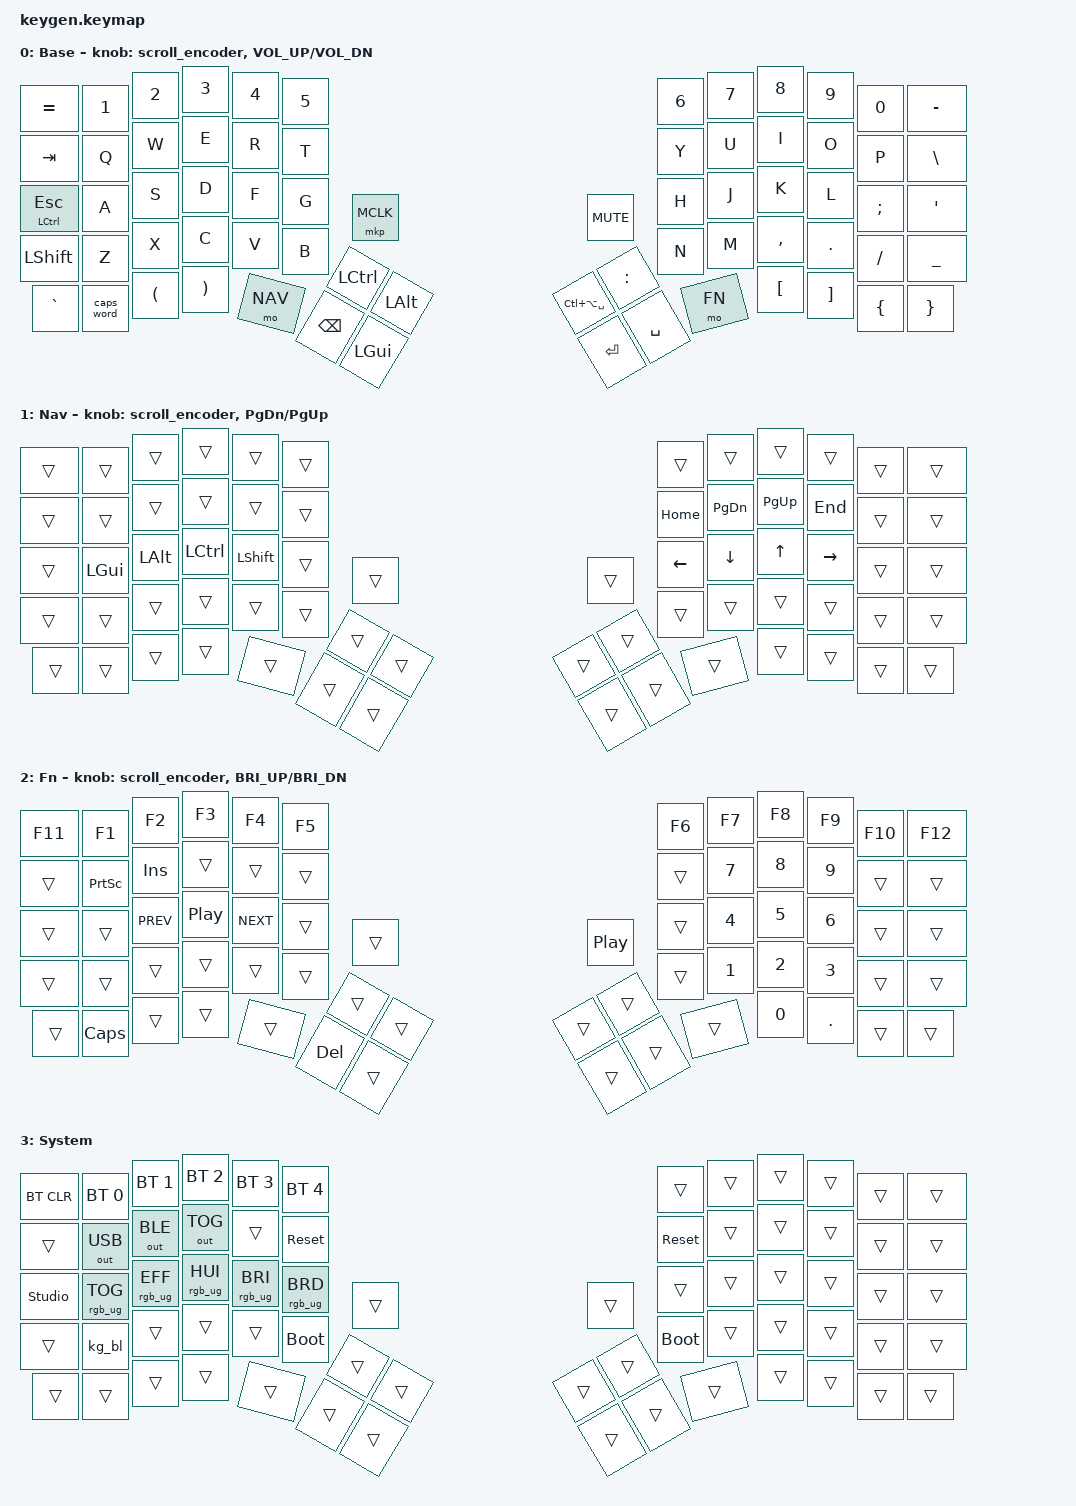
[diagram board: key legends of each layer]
/*
 * Keygen keymap. Key positions come from boards/shields/keygen/keygen-layouts.dtsi:
 *   number row (14, the two encoder presses in the middle), top, home, bottom (12 each), extra row (8),
 *   thumb 1u row (4), thumb bottom row (6: 1.25u, 1.25u rest, 1.25u centre per half).
 *
 * Layers: BASE, NAV (hold left 1.25u), FN (hold right 1.25u), SYS (hold both).
 *
 * The right half has no Shift, Ctrl or Alt: those come from the left half. Its two 1u thumb keys
 * are ':' (Vim's command line) and dictation (Ctrl+Alt+Space, OpenWhispr's toggle), and its outer
 * bottom key is '_'.
 *
 * Knobs: the left one is a scroll wheel on every layer (with Super held it walks Hyprland's
 * workspaces), and pressing it is a middle click. The right one is volume / page / brightness.
 */

#include <behaviors.dtsi>
#include <dt-bindings/zmk/bt.h>
#include <dt-bindings/zmk/keys.h>
#include <dt-bindings/zmk/outputs.h>
/* one wheel step per knob detent: at ZMK's default speed (10) a short tap rounds down to nothing */
#define ZMK_POINTING_DEFAULT_SCRL_VAL 100
#include <dt-bindings/zmk/pointing.h>
#include <dt-bindings/zmk/rgb.h>

#define BASE 0
#define NAV  1
#define FN   2
#define SYS  3

/ {
    behaviors {
        /* tap Esc, hold Ctrl; balanced so a quick Esc then ':' stays a tap */
        esc_ctrl: esc_ctrl {
            compatible = "zmk,behavior-hold-tap";
            #binding-cells = <2>;
            flavor = "balanced";
            tapping-term-ms = <200>;
            bindings = <&kp>, <&kp>;
        };

        /* the left knob: one scroll step per detent */
        scroll_encoder: scroll_encoder {
            compatible = "zmk,behavior-sensor-rotate";
            #sensor-binding-cells = <0>;
            bindings = <&msc SCRL_DOWN>, <&msc SCRL_UP>;
            tap-ms = <20>;
        };

        /* lighting on battery: allowed or off, saved (module/src/power/battery_lighting.c) */
        kg_bl: kg_bl {
            compatible = "keygen,behavior-battery-lighting";
            display-name = "Battery Lighting";
            #binding-cells = <0>;
        };
    };

    conditional_layers {
        compatible = "zmk,conditional-layers";
        sys_layer {
            if-layers = <NAV FN>;
            then-layer = <SYS>;
        };
    };

    keymap {
        compatible = "zmk,keymap";

        base_layer {
            display-name = "Base";
// |   =  |  1  |  2  |  3  |  4  |  5  |  MCLK  | MUTE |        |  6  |  7  |  8  |  9  |  0  |   -  |
// | Tab  |  Q  |  W  |  E  |  R  |  T  |                          |  Y  |  U  |  I  |  O  |  P  |   \  |
// |Esc/Ct|  A  |  S  |  D  |  F  |  G  |                          |  H  |  J  |  K  |  L  |  ;  |   '  |
// | Shft |  Z  |  X  |  C  |  V  |  B  |                          |  N  |  M  |  ,  |  .  |  /  |   _  |
// |  `   |CapsW|  (  |  )  |                                                  |  [  |  ]  |  {  |  }  |
//                        | Ctrl | Alt |                    |Dictat|  :   |
//                 | NAV  | Bksp |Super|                    |Enter |Space |  FN  |
            bindings = <
    &kp EQUAL  &kp N1 &kp N2 &kp N3 &kp N4 &kp N5    &mkp MCLK &kp C_MUTE    &kp N6 &kp N7 &kp N8    &kp N9  &kp N0   &kp MINUS
    &kp TAB    &kp Q  &kp W  &kp E  &kp R  &kp T                   &kp Y  &kp U  &kp I     &kp O   &kp P    &kp BSLH
    &esc_ctrl LCTRL ESC &kp A &kp S &kp D &kp F &kp G              &kp H  &kp J  &kp K     &kp L   &kp SEMI &kp SQT
    &kp LSHFT  &kp Z  &kp X  &kp C  &kp V  &kp B                   &kp N  &kp M  &kp COMMA &kp DOT &kp FSLH &kp UNDER
    &kp GRAVE  &caps_word &kp LPAR &kp RPAR                                      &kp LBKT  &kp RBKT &kp LBRC &kp RBRC
                             &kp LCTRL &kp LALT                    &kp LC(LA(SPACE)) &kp COLON
                   &mo NAV   &kp BSPC  &kp LGUI                    &kp RET  &kp SPACE &mo FN
            >;

            sensor-bindings = <&scroll_encoder &inc_dec_kp C_VOL_UP C_VOL_DN>;
        };

        nav_layer {
            display-name = "Nav";
// Right hand: HJKL arrows, Y U I O = Home PgDn PgUp End. Left home row: plain Super Alt Ctrl Shift.
            bindings = <
    &trans &trans &trans &trans  &trans  &trans    &trans &trans    &trans    &trans    &trans    &trans    &trans &trans
    &trans &trans &trans &trans  &trans  &trans              &kp HOME  &kp PG_DN &kp PG_UP &kp END   &trans &trans
    &trans &kp LGUI &kp LALT &kp LCTRL &kp LSHFT &trans      &kp LEFT  &kp DOWN  &kp UP    &kp RIGHT &trans &trans
    &trans &trans &trans &trans  &trans  &trans              &trans    &trans    &trans    &trans    &trans &trans
    &trans &trans &trans &trans                                                  &trans    &trans    &trans &trans
                         &trans  &trans                      &trans    &trans
                  &trans &trans  &trans                      &trans    &trans    &trans
            >;

            sensor-bindings = <&scroll_encoder &inc_dec_kp PG_DN PG_UP>;
        };

        fn_layer {
            display-name = "Fn";
// Number row: F1-F10, F11 on =, F12 on -. Numpad under the right hand (0 and . on the [ ] keys).
// Bksp = Del, CapsW = Caps Lock, Q = PrtSc, W = Ins, S D F = prev / play-pause / next.
            bindings = <
    &kp F11 &kp F1 &kp F2 &kp F3 &kp F4 &kp F5    &trans &kp C_PP    &kp F6 &kp F7 &kp F8 &kp F9 &kp F10 &kp F12
    &trans  &kp PSCRN &kp INS &trans &trans &trans            &trans &kp N7 &kp N8 &kp N9 &trans  &trans
    &trans  &trans &kp C_PREV &kp C_PP &kp C_NEXT &trans      &trans &kp N4 &kp N5 &kp N6 &trans  &trans
    &trans  &trans &trans &trans &trans &trans                &trans &kp N1 &kp N2 &kp N3 &trans  &trans
    &trans  &kp CAPS &trans &trans                                          &kp N0 &kp DOT &trans &trans
                          &trans  &trans                      &trans &trans
                  &trans  &kp DEL &trans                      &trans &trans &trans
            >;

            sensor-bindings = <&scroll_encoder &inc_dec_kp C_BRI_UP C_BRI_DN>;
        };

        sys_layer {
            display-name = "System";
// = clears the current Bluetooth profile, 1-5 select it. Q W E = USB / BLE / toggle output.
// A S D F G = RGB on-off / effect / hue / brighter / dimmer. Z = lighting on battery, allowed or off.
// Esc = ZMK Studio unlock.
// T / Y reset, B / N bootloader, each on its own half.
            bindings = <
    &bt BT_CLR &bt BT_SEL 0 &bt BT_SEL 1 &bt BT_SEL 2 &bt BT_SEL 3 &bt BT_SEL 4    &trans &trans    &trans &trans &trans &trans &trans &trans
    &trans &out OUT_USB &out OUT_BLE &out OUT_TOG &trans &sys_reset                         &sys_reset &trans &trans &trans &trans &trans
    &studio_unlock &rgb_ug RGB_TOG &rgb_ug RGB_EFF &rgb_ug RGB_HUI &rgb_ug RGB_BRI &rgb_ug RGB_BRD    &trans &trans &trans &trans &trans &trans
    &trans &kg_bl &trans &trans &trans &bootloader                                          &bootloader &trans &trans &trans &trans &trans
    &trans &trans &trans &trans                                                                         &trans &trans &trans &trans
                         &trans &trans                                                      &trans &trans
                  &trans &trans &trans                                                      &trans &trans &trans
            >;
        };
    };
};
